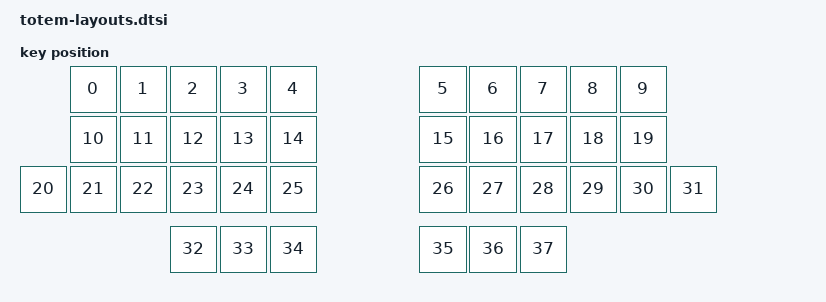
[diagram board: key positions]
#include <physical_layouts.dtsi>

/ {
    physical_layout0: physical_layout_0 {
        compatible = "zmk,physical-layout";
        display-name = "TOTEM";

        /*
         * Logical positions:
         *
         *  0  1  2  3  4       5  6  7  8  9
         * 10 11 12 13 14      15 16 17 18 19
         * 20 21 22 23 24 25   26 27 28 29 30 31
         *       32 33 34       35 36 37
         *
         * w/h/x/y unit: 1U = 100
         */
        keys
            /* Row 0 */
            = <&key_physical_attrs 100 100  100    0 0 0 0>
            , <&key_physical_attrs 100 100  200    0 0 0 0>
            , <&key_physical_attrs 100 100  300    0 0 0 0>
            , <&key_physical_attrs 100 100  400    0 0 0 0>
            , <&key_physical_attrs 100 100  500    0 0 0 0>

            , <&key_physical_attrs 100 100  800    0 0 0 0>
            , <&key_physical_attrs 100 100  900    0 0 0 0>
            , <&key_physical_attrs 100 100 1000    0 0 0 0>
            , <&key_physical_attrs 100 100 1100    0 0 0 0>
            , <&key_physical_attrs 100 100 1200    0 0 0 0>

            /* Row 1 */
            , <&key_physical_attrs 100 100  100  100 0 0 0>
            , <&key_physical_attrs 100 100  200  100 0 0 0>
            , <&key_physical_attrs 100 100  300  100 0 0 0>
            , <&key_physical_attrs 100 100  400  100 0 0 0>
            , <&key_physical_attrs 100 100  500  100 0 0 0>

            , <&key_physical_attrs 100 100  800  100 0 0 0>
            , <&key_physical_attrs 100 100  900  100 0 0 0>
            , <&key_physical_attrs 100 100 1000  100 0 0 0>
            , <&key_physical_attrs 100 100 1100  100 0 0 0>
            , <&key_physical_attrs 100 100 1200  100 0 0 0>

            /* Row 2: 12 logical positions */
            , <&key_physical_attrs 100 100    0  200 0 0 0>
            , <&key_physical_attrs 100 100  100  200 0 0 0>
            , <&key_physical_attrs 100 100  200  200 0 0 0>
            , <&key_physical_attrs 100 100  300  200 0 0 0>
            , <&key_physical_attrs 100 100  400  200 0 0 0>
            , <&key_physical_attrs 100 100  500  200 0 0 0>

            , <&key_physical_attrs 100 100  800  200 0 0 0>
            , <&key_physical_attrs 100 100  900  200 0 0 0>
            , <&key_physical_attrs 100 100 1000  200 0 0 0>
            , <&key_physical_attrs 100 100 1100  200 0 0 0>
            , <&key_physical_attrs 100 100 1200  200 0 0 0>
            , <&key_physical_attrs 100 100 1300  200 0 0 0>

            /* Thumbs */
            , <&key_physical_attrs 100 100  300  320 0 0 0>
            , <&key_physical_attrs 100 100  400  320 0 0 0>
            , <&key_physical_attrs 100 100  500  320 0 0 0>

            , <&key_physical_attrs 100 100  800  320 0 0 0>
            , <&key_physical_attrs 100 100  900  320 0 0 0>
            , <&key_physical_attrs 100 100 1000  320 0 0 0>
            ;
    };
};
